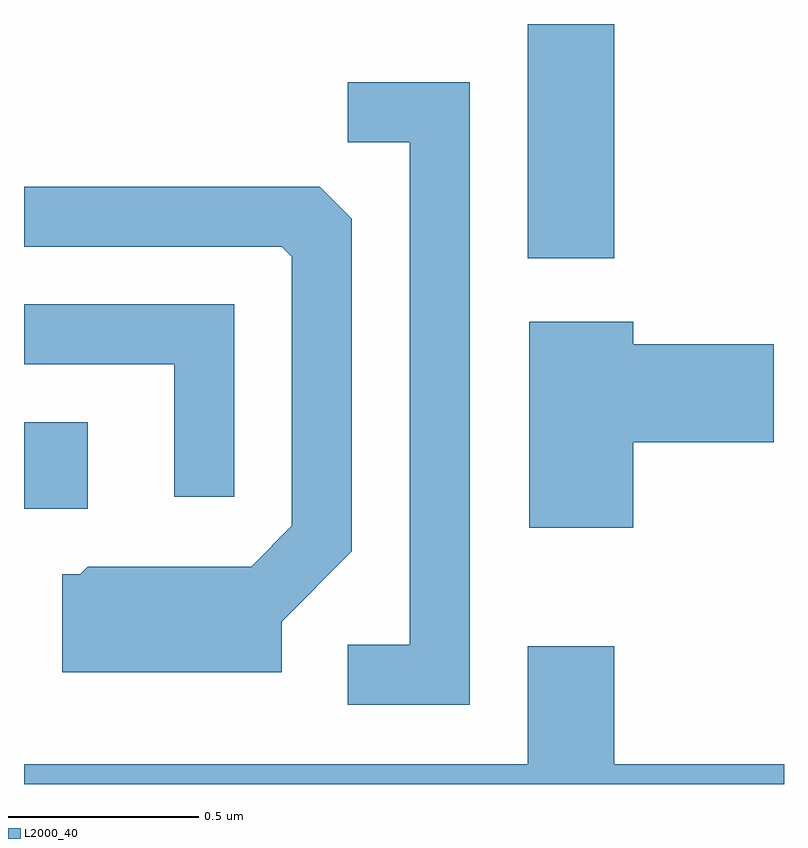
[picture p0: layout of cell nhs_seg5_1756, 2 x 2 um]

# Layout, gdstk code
import gdstk
lib = gdstk.Library(unit=1e-6, precision=1e-09)
def R(c, l, rs):  # rectangles x0, y0, x1, y1
    for r in rs: c.add(gdstk.rectangle(r[:2], r[2:], *l))
def P(c, l, *ps):  # polygons
    for p in ps: c.add(gdstk.Polygon(p, *l))
L2000_40 = (2000, 40)

nhs_seg5_1756 = lib.new_cell('nhs_seg5_1756')
R(nhs_seg5_1756, L2000_40, [(197.611,1508.796,197.779,1509.024), (198.936,1509.456,199.164,1510.072)])
P(nhs_seg5_1756, L2000_40, [(198.784,1509.919),(198.463,1509.919),(198.463,1509.761),(198.626,1509.761),(198.626,1508.439),(198.463,1508.439),(198.463,1508.281),(198.784,1508.281)],
  [(198.289,1508.499),(198.474,1508.684),(198.474,1509.559),(198.389,1509.644),(197.611,1509.644),(197.611,1509.486),(198.289,1509.486),(198.316,1509.459),(198.316,1508.752),(198.209,1508.644),(197.779,1508.644),(197.759,1508.624),(197.711,1508.624),(197.711,1508.366),(198.289,1508.366)],
  [(198.164,1509.334),(197.611,1509.334),(197.611,1509.176),(198.006,1509.176),(198.006,1508.828),(198.164,1508.828)],
  [(199.214,1508.971),(199.584,1508.971),(199.584,1509.229),(199.214,1509.229),(199.214,1509.289),(198.941,1509.289),(198.941,1508.746),(199.214,1508.746)],
  [(199.611,1508.124),(199.164,1508.124),(199.164,1508.434),(198.936,1508.434),(198.936,1508.124),(197.611,1508.124),(197.611,1508.072),(199.611,1508.072)])

lib.write_gds('nhs_seg5_1756.gds')
